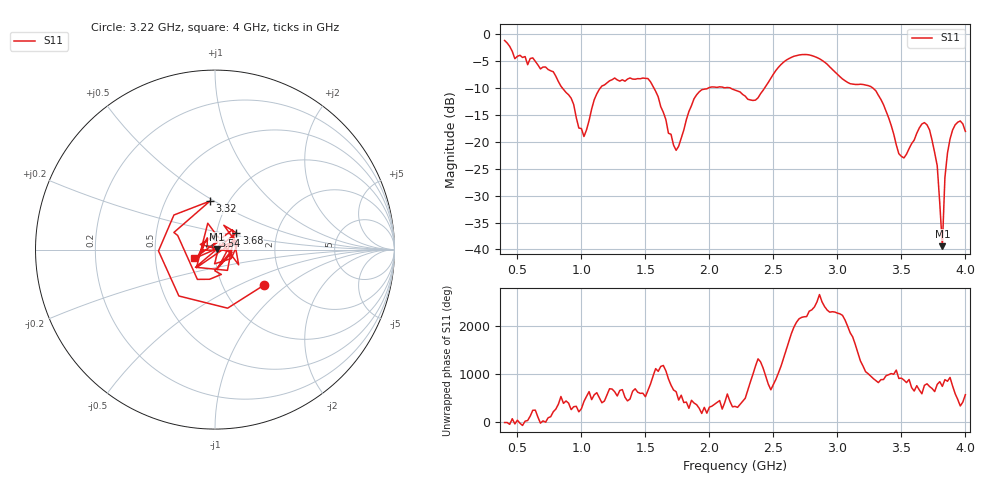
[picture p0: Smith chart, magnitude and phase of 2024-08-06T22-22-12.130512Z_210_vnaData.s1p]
!Created with skrf (http://scikit-rf.org).
# Hz S RI R 50.0
!freq ReS11 ImS11
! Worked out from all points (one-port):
!   181 points, 400 MHz to 4 GHz, reference 50 ohm
!   lowest |S11| = -39.4 dB at 3.82 GHz (marker M1), VSWR 1.02, Z = 51 + j0.325 ohm
!   |S11| at or under -10 dB: 852.2 MHz to 1.147 GHz (294.8 MHz wide, 29.5 % of centre); 1.567 GHz to 1.99 GHz (422.7 MHz wide, 23.8 % of centre); 3.278 GHz to end of sweep (the widest 3 of 4)
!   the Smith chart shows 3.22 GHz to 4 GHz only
!   S11 on the Smith chart (normalised r, x): 3.22 GHz: 1.57, -0.70; 3.32 GHz: 0.82, +0.48; 3.54 GHz: 0.97, +0.15; 3.68 GHz: 1.24, +0.24; 4 GHz: 0.79, -0.08
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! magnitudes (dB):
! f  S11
! 400 MHz  -1.1
! 480 MHz  -4.5
! 860 MHz  -10.2
! 1.02 GHz  -19.0
! 1.14 GHz  -10.2
! 1.3 GHz  -8.7
! 1.52 GHz  -8.2
! 1.72 GHz  -20.6
! 1.76 GHz  -20.8
! 1.92 GHz  -10.7
! 2.2 GHz  -10.4
! 2.36 GHz  -12.2
! 2.66 GHz  -4.1
! 2.86 GHz  -4.5
! 3.1 GHz  -9.2
! 3.22 GHz  -9.4
! 3.32 GHz  -11.3
! 3.48 GHz  -22.2
! 3.54 GHz  -22.3
! 3.56 GHz  -21.3
! 3.68 GHz  -16.4
! 3.72 GHz  -17.8
! 3.78 GHz  -24.4
! 3.82 GHz  -39.4
! 3.84 GHz  -26.6
! 3.88 GHz  -19.5
! 3.96 GHz  -16.1
! 4 GHz  -18.0
